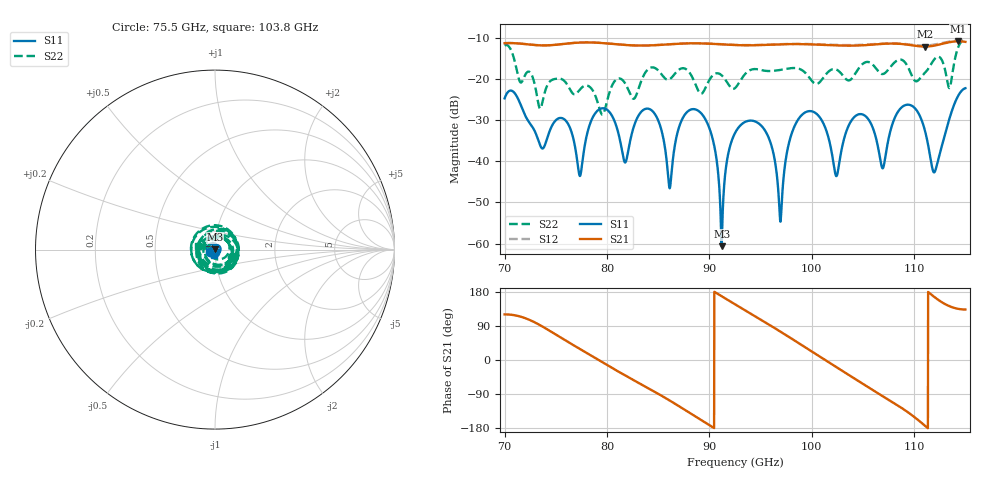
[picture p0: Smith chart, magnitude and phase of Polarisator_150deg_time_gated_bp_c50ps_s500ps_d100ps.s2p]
# Hz S RI R 1.000000
! Metas.Vna.Tools, 2.4.7898.19887
! Metas.Vna.Data, 2.4.7898.19873
! Created: UTC 2021.09.30 14:30:59
! FREQ  re:S1,1  im:S1,1  re:S2,1  im:S2,1  re:S1,2  im:S1,2  re:S2,2  im:S2,2
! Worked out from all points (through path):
!   2251 points, 70 GHz to 115 GHz, reference 1 ohm
!   highest |S21| = -10.80 dB at 114.3 GHz (marker M1); lowest = -12.1 dB at 111.1 GHz (marker M2)
!   lowest |S11| = -60.6 dB at 91.2 GHz (marker M3), VSWR 1.00, Z = 1 + j0.0018 ohm
!   |S11| at or under -10 dB: start of sweep to end of sweep
!   |S22| runs from -28.7 to -10.6 dB; largest |S21 - S12| = 0.05
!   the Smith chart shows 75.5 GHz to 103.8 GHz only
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7e10  0.0478 -0.0333  -0.1378 0.2356  -0.1417 0.2353  -0.1907 -0.1704
7.346e10  -0.0144 -0.00649  -0.00865 0.2571  -0.0121 0.2578  -0.031 -0.0309
7.574e10  -0.0322 -0.00738  0.1533 0.2189  0.1522 0.2202  0.0662 -0.0711
7.75e10  0.00793 -0.000414  0.2487 0.1255  0.2492 0.1264  0.00489 0.0779
7.924e10  -0.0295 -0.0311  0.2759 -0.00465  0.277 -0.00378  -0.0156 -0.0422
8.176e10  -0.00965 -0.000758  0.1979 -0.1689  0.1995 -0.1677  0.0272 -0.0849
8.5e10  -0.0125 0.0289  0.00415 -0.2595  0.00651 -0.2606  -0.0365 -0.1221
8.612e10  0.00444 -0.00154  -0.077 -0.2536  -0.0749 -0.2557  -0.0357 0.0929
8.942e10  -0.00411 0.0352  -0.2584 -0.0825  -0.2586 -0.0845  0.022 0.0667
9.12e10  -0.000216 0.000903  -0.2587 0.0543  -0.26 0.0533  -0.0686 -0.0874
9.25e10  -0.00623 0.0212  -0.2178 0.1408  -0.2199 0.1403  0.0391 0.0671
9.542e10  0.0103 -0.0215  -0.0452 0.2565  -0.0491 0.2572  0.0195 0.1247
9.694e10  -0.00106 0.0015  0.0695 0.2556  0.0663 0.2578  -0.0183 -0.128
9.804e10  0.0213 -0.00495  0.1484 0.2214  0.1466 0.2244  -0.0983 0.094
1e11  -0.011 -0.039  0.244 0.101  0.2453 0.1043  0.00709 -0.0952
1.0238e11  -0.00429 -0.00504  0.2436 -0.0814  0.2486 -0.0778  0.1248 -0.0398
1.0436e11  -0.0214 -0.0292  0.1564 -0.2024  0.1658 -0.2002  -0.00104 0.1228
1.075e11  -0.0067 -0.0177  -0.0695 -0.261  -0.0569 -0.267  -0.00505 0.1318
1.1106e11  -0.0157 0.0172  -0.2472 -0.0278  -0.2509 -0.051  0.0903 0.0781
1.1202e11  -0.00749 0.000366  -0.2475 0.0653  -0.2611 0.0363  0.0842 -0.1561
1.1432e11  -0.0469 0.0427  -0.2032 0.2046  -0.2388 0.1704  0.1835 0.1666
1.15e11  -0.0527 0.0567  -0.1943 0.2066  -0.2318 0.1739  0.2824 0.0692
